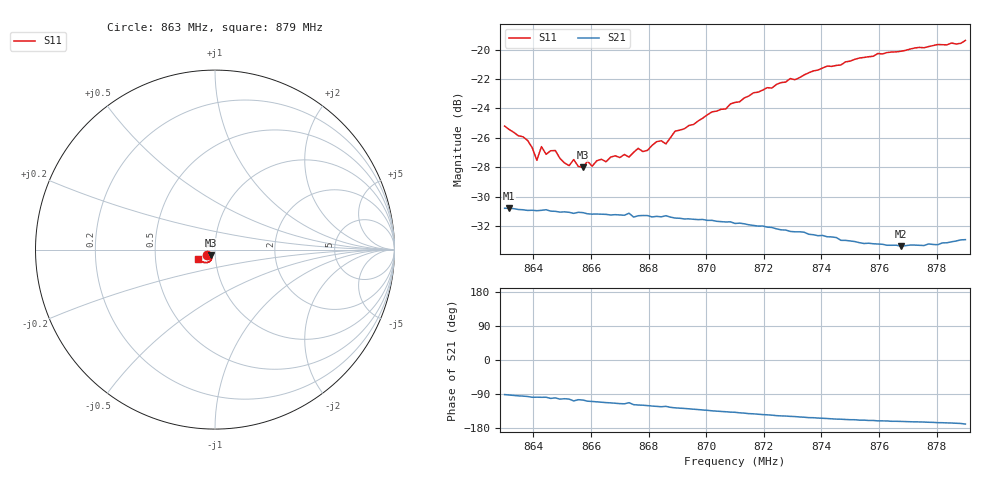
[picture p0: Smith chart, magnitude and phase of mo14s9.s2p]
# HZ S RI R 50
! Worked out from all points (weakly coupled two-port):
!   101 points, 863 MHz to 879 MHz, reference 50 ohm
!   highest |S21| = -30.79 dB at 863.16 MHz (marker M1); lowest = -33.4 dB at 876.76 MHz (marker M2)
!   lowest |S11| = -28.0 dB at 865.72 MHz (marker M3), VSWR 1.08, Z = 47.5 - j2.98 ohm
!   |S11| at or under -10 dB: start of sweep to end of sweep
!   S12 and S22 are empty: the file has one direction only
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8.63e8  -0.0472 -0.0282  -0.000644 -0.0289  0 0  0 0
8.6316e8  -0.0456 -0.0279  -0.00119 -0.0288  0 0  0 0
8.638e8  -0.0403 -0.028  -0.0031 -0.0282  0 0  0 0
8.6412e8  -0.0357 -0.0222  -0.00401 -0.028  0 0  0 0
8.6428e8  -0.0362 -0.0296  -0.00416 -0.0281  0 0  0 0
8.6444e8  -0.0338 -0.0282  -0.0041 -0.0282  0 0  0 0
8.6476e8  -0.0337 -0.0303  -0.00486 -0.0278  0 0  0 0
8.6508e8  -0.0292 -0.029  -0.00592 -0.0274  0 0  0 0
8.654e8  -0.0286 -0.0311  -0.00855 -0.0264  0 0  0 0
8.6572e8  -0.0245 -0.0313  -0.00755 -0.0268  0 0  0 0
8.6588e8  -0.0267 -0.0321  -0.00885 -0.0262  0 0  0 0
8.6604e8  -0.0243 -0.0319  -0.00917 -0.026  0 0  0 0
8.6684e8  -0.0227 -0.0371  -0.0112 -0.0251  0 0  0 0
8.6732e8  -0.0175 -0.0394  -0.0107 -0.0256  0 0  0 0
8.6844e8  -0.0185 -0.0453  -0.0148 -0.0225  0 0  0 0
8.686e8  -0.0184 -0.0441  -0.0146 -0.023  0 0  0 0
8.6892e8  -0.0193 -0.0492  -0.0158 -0.0215  0 0  0 0
8.71e8  -0.0242 -0.0615  -0.019 -0.0172  0 0  0 0
8.7372e8  -0.0432 -0.0728  -0.0208 -0.0109  0 0  0 0
8.7644e8  -0.0708 -0.068  -0.0205 -0.00676  0 0  0 0
8.7676e8  -0.0735 -0.0659  -0.0204 -0.00659  0 0  0 0
8.79e8  -0.0949 -0.0504  -0.0222 -0.00428  0 0  0 0
